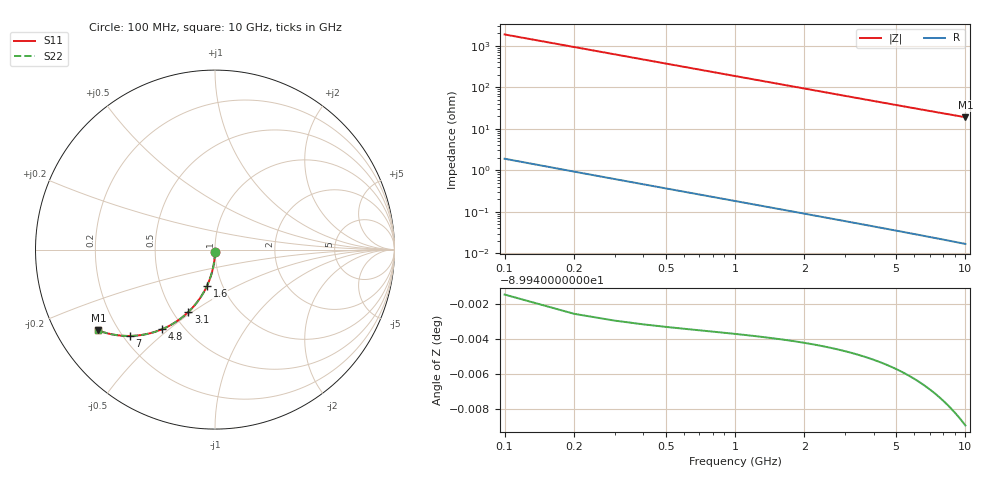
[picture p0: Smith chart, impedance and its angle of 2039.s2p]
# Hz S RI R 50.00
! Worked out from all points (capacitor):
!   100 points, 100 MHz to 10 GHz, reference 50 ohm
!   read as one part in shunt: C = 858 fF near 100 MHz
!   lowest |Z| = 19 ohm at 10 GHz (marker M1)
!   S11 on the Smith chart (normalised r, x): 100 MHz: 1.00, -0.03; 1.6 GHz: 0.85, -0.36; 3.1 GHz: 0.59, -0.48; 4.8 GHz: 0.38, -0.47; 7 GHz: 0.23, -0.40; 10 GHz: 0.13, -0.31
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1e8  -0.000126 -0.0132  0.9997 -0.0137  0.9997 -0.0137  -0.000126 -0.0132
2e8  -0.000683 -0.0264  0.9992 -0.0274  0.9992 -0.0274  -0.000683 -0.0264
3e8  -0.0016 -0.0396  0.9983 -0.0411  0.9983 -0.0411  -0.0016 -0.0396
4e8  -0.00288 -0.0527  0.997 -0.0547  0.997 -0.0547  -0.00288 -0.0527
5e8  -0.00451 -0.0658  0.9953 -0.0683  0.9953 -0.0683  -0.00451 -0.0658
6e8  -0.0065 -0.0788  0.9934 -0.0818  0.9934 -0.0818  -0.0065 -0.0788
7e8  -0.00883 -0.0917  0.991 -0.0952  0.991 -0.0952  -0.00883 -0.0917
9e8  -0.0145 -0.1172  0.9853 -0.1217  0.9853 -0.1217  -0.0145 -0.1172
1.2e9  -0.0255 -0.1545  0.9743 -0.1605  0.9743 -0.1605  -0.0255 -0.1545
1.6e9  -0.0445 -0.202  0.9553 -0.21  0.9553 -0.21  -0.0445 -0.202
1.8e9  -0.0557 -0.2245  0.9441 -0.2335  0.9441 -0.2335  -0.0557 -0.2245
2.4e9  -0.0949 -0.2868  0.9048 -0.2988  0.9048 -0.2988  -0.0949 -0.2868
3.1e9  -0.149 -0.348  0.8507 -0.3635  0.8507 -0.3635  -0.149 -0.348
3.4e9  -0.1741 -0.3703  0.8256 -0.3873  0.8256 -0.3873  -0.1741 -0.3703
4.1e9  -0.2348 -0.4132  0.7649 -0.4337  0.7649 -0.4337  -0.2348 -0.4132
4.8e9  -0.2963 -0.4442  0.7033 -0.4683  0.7033 -0.4683  -0.2963 -0.4442
5.1e9  -0.3223 -0.4541  0.6772 -0.4798  0.6772 -0.4798  -0.3223 -0.4541
5.9e9  -0.3894 -0.4723  0.61 -0.5021  0.61 -0.5021  -0.3894 -0.4723
6.7e9  -0.4518 -0.4802  0.5474 -0.5142  0.5474 -0.5142  -0.4518 -0.4802
7e9  -0.4738 -0.4811  0.5254 -0.5166  0.5254 -0.5166  -0.4738 -0.4811
8.4e9  -0.5657 -0.4737  0.4332 -0.5165  0.4332 -0.5165  -0.5657 -0.4737
1e10  -0.65 -0.4505  0.3486 -0.5019  0.3486 -0.5019  -0.65 -0.4505
